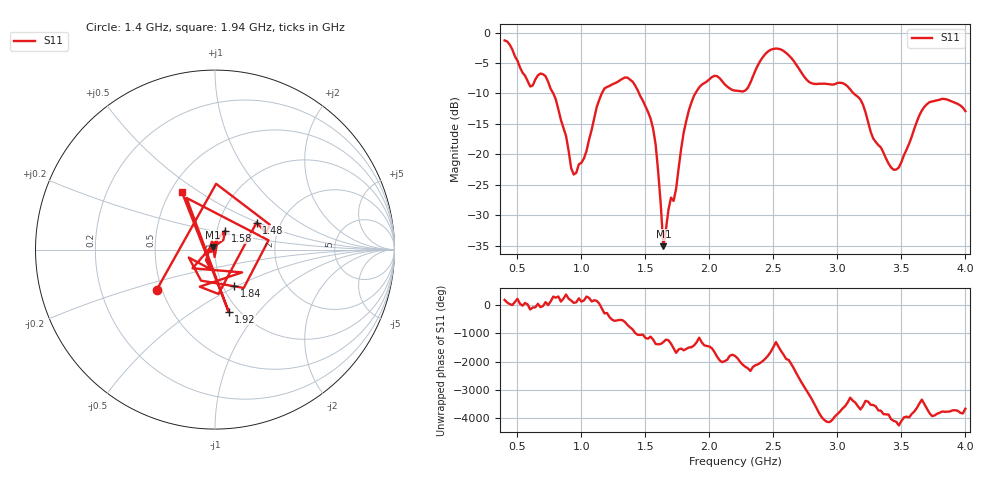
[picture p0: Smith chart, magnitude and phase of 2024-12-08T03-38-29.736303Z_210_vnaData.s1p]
!Created with skrf (http://scikit-rf.org).
# Hz S RI R 50.0
!freq ReS11 ImS11
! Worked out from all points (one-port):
!   181 points, 400 MHz to 4 GHz, reference 50 ohm
!   lowest |S11| = -35.1 dB at 1.64 GHz (marker M1), VSWR 1.04, Z = 49 + j1.43 ohm
!   |S11| at or under -10 dB: 780.4 MHz to 1.159 GHz (379 MHz wide, 39.1 % of centre); 1.451 GHz to 1.891 GHz (439.8 MHz wide, 26.3 % of centre); 3.127 GHz to end of sweep
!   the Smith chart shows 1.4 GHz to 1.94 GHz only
!   S11 on the Smith chart (normalised r, x): 1.4 GHz: 0.47, -0.25; 1.48 GHz: 1.51, +0.49; 1.58 GHz: 1.09, +0.24; 1.84 GHz: 1.13, -0.49; 1.92 GHz: 0.90, -0.71; 1.94 GHz: 0.57, +0.43
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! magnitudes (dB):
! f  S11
! 400 MHz  -1.3
! 600 MHz  -8.9
! 720 MHz  -7.2
! 860 MHz  -15.7
! 920 MHz  -22.3
! 960 MHz  -23.0
! 1.16 GHz  -10.0
! 1.3 GHz  -7.9
! 1.4 GHz  -8.1
! 1.48 GHz  -11.2
! 1.58 GHz  -18.4
! 1.64 GHz  -35.1
! 1.68 GHz  -29.1
! 1.76 GHz  -22.2
! 1.84 GHz  -12.7
! 1.92 GHz  -9.0
! 1.94 GHz  -8.6
! 2.06 GHz  -7.2
! 2.2 GHz  -9.5
! 2.3 GHz  -9.1
! 2.48 GHz  -2.8
! 2.66 GHz  -4.7
! 2.78 GHz  -8.1
! 3.1 GHz  -9.3
! 3.42 GHz  -22.2
! 3.56 GHz  -18.3
! 3.72 GHz  -11.4
! 4 GHz  -12.9
